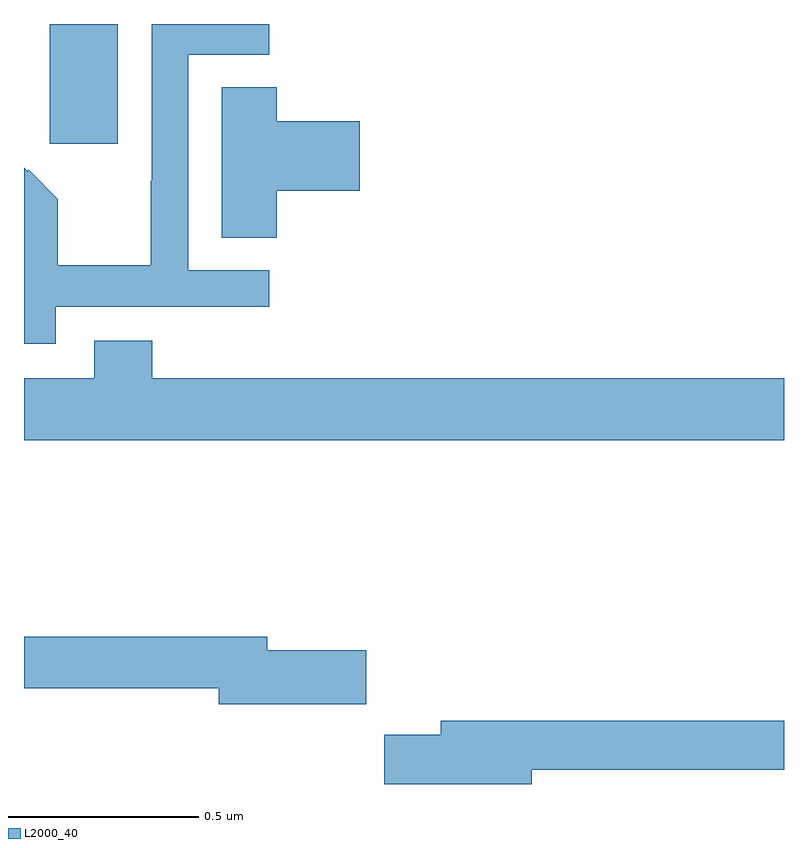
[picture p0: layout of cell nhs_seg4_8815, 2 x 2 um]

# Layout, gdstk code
import gdstk
lib = gdstk.Library(unit=1e-6, precision=1e-09)
def R(c, l, rs):  # rectangles x0, y0, x1, y1
    for r in rs: c.add(gdstk.rectangle(r[:2], r[2:], *l))
def P(c, l, *ps):  # polygons
    for p in ps: c.add(gdstk.Polygon(p, *l))
L2000_40 = (2000, 40)

nhs_seg4_8815 = lib.new_cell('nhs_seg4_8815')
R(nhs_seg4_8815, L2000_40, [(219.068,813.585,219.247,813.9)])
P(nhs_seg4_8815, L2000_40, [(219.084,813.156),(219.646,813.156),(219.646,813.252),(219.432,813.252),(219.432,813.819),(219.646,813.819),(219.646,813.9),(219.336,813.9),(219.336,813.488),(219.334,813.488),(219.334,813.265),(219.089,813.265),(219.089,813.439),(219.012,813.516),(219.009,813.513),(219,813.522),(219,813.059),(219.084,813.059)],
  [(219.665,813.461),(219.883,813.461),(219.883,813.644),(219.665,813.644),(219.665,813.734),(219.521,813.734),(219.521,813.337),(219.665,813.337)],
  [(221,812.968),(219.338,812.968),(219.338,813.067),(219.185,813.067),(219.185,812.968),(219,812.968),(219,812.804),(221,812.804)],
  [(219.901,812.252),(219.64,812.252),(219.64,812.288),(219,812.288),(219,812.152),(219.512,812.152),(219.512,812.11),(219.901,812.11)],
  [(220.336,811.938),(221,811.938),(221,812.066),(220.097,812.066),(220.097,812.03),(219.948,812.03),(219.948,811.9),(220.336,811.9)])

lib.write_gds('nhs_seg4_8815.gds')
